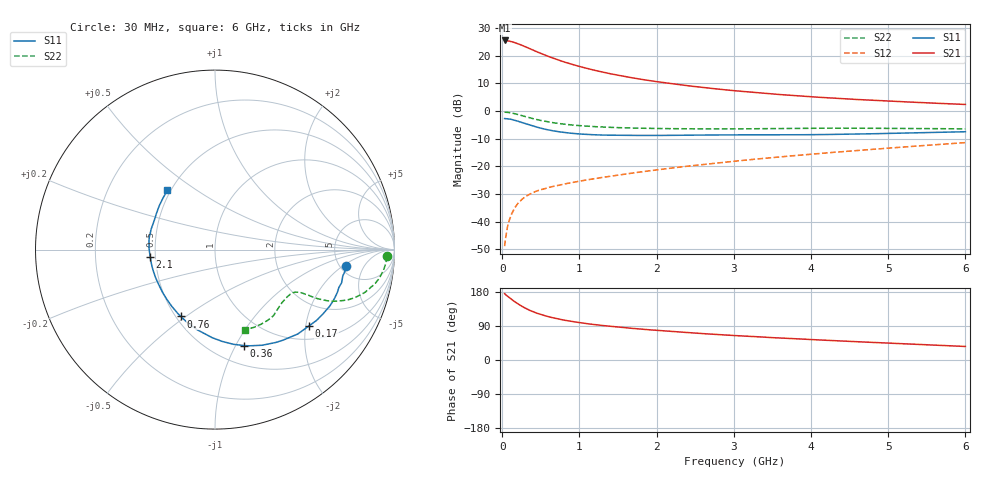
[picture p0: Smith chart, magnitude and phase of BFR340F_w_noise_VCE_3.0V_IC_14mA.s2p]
! Infineon Technologies  Discrete & RF Semiconductors
! BFR340F
! VCE =  3.0 V,  IC =  14 mA
! Common Emitter S-Parameters:  Nov 2015
# GHz  S  MA  R  50
!  f  S11  S21  S12  S22
! GHz  MAG  ANG  MAG  ANG  MAG  ANG  MAG  ANG
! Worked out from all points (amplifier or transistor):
!   206 points, 30 MHz to 6 GHz, reference 50 ohm
!   highest |S21| = 25.6 dB at 30 MHz (marker M1)
!   |S21| within 3 dB of that: start of sweep to 357.9 MHz
!   unconditionally stable (mu >= 1): 1.36 GHz to 4.83 GHz
!   at 200 MHz: K = 0.28, MSG = 29.0 dB, |S12| = -33.5 dB
!   at 1.56 GHz: K = 1.04, MAG = 16.5 dB, |S12| = -22.9 dB
!   at 6 GHz: K = 0.93, MSG = 6.9 dB, |S12| = -11.4 dB
!   lowest NFmin = 2.33 dB at 1.9 GHz
!   S11 on the Smith chart (normalised r, x): 30 MHz: 5.60, -2.24; 170 MHz: 1.34, -2.08; 360 MHz: 0.70, -1.08; 760 MHz: 0.53, -0.48; 2.1 GHz: 0.47, -0.04; 6 GHz: 0.48, +0.39
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0.03  0.7341 -7.2  19 175.1  0.0036 86.8  0.9573 -2.3
0.07  0.7217 -17.0  18.76 167.9  0.0084 82.4  0.9494 -6.1
0.14  0.6945 -33.0  17.8 157.0  0.0157 75.1  0.9124 -11.9
0.17  0.6744 -39.1  17.18 152.7  0.0185 72.3  0.8909 -13.8
0.2  0.6588 -45.5  16.66 148.4  0.0212 70.0  0.8698 -15.8
0.26  0.6184 -56.8  15.42 141.0  0.0257 66.1  0.8247 -18.9
0.3  0.5939 -63.8  14.6 136.5  0.0283 64.2  0.7953 -20.5
0.36  0.559 -73.1  13.41 130.7  0.0317 61.8  0.7546 -22.2
0.42  0.5269 -81.5  12.33 125.7  0.0346 60.1  0.7185 -23.6
0.5  0.4911 -91.8  11.05 119.9  0.0379 58.6  0.6769 -24.7
0.6  0.4568 -102.8  9.732 114.0  0.0415 57.8  0.6363 -25.5
0.76  0.4183 -117.0  8.114 106.9  0.0467 57.9  0.5904 -26.0
0.9  0.397 -127.5  7.038 101.7  0.0509 58.7  0.5615 -26.3
1.04  0.3828 -136.1  6.216 97.5  0.0552 59.8  0.5412 -26.5
1.24  0.371 -146.3  5.308 92.4  0.0613 61.5  0.5203 -27.2
1.5  0.3649 -157.1  4.456 86.9  0.0696 63.6  0.5025 -28.3
2.02  0.3631 -172.0  3.384 77.9  0.0871 67.2  0.4845 -31.6
2.1  0.3635 -173.9  3.267 76.8  0.0899 67.6  0.4831 -32.2
3.1  0.3722 167.9  2.282 63.6  0.1278 71.3  0.4781 -41.1
4.1  0.3759 153.8  1.782 53.0  0.1706 72.4  0.4913 -49.4
5.1  0.3972 140.6  1.498 43.6  0.2191 71.8  0.4874 -59.4
6  0.4237 128.7  1.32 35.7  0.2695 70.0  0.4773 -69.4
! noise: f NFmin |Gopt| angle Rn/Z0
1.9  2.33  0.18  -18  0.65
